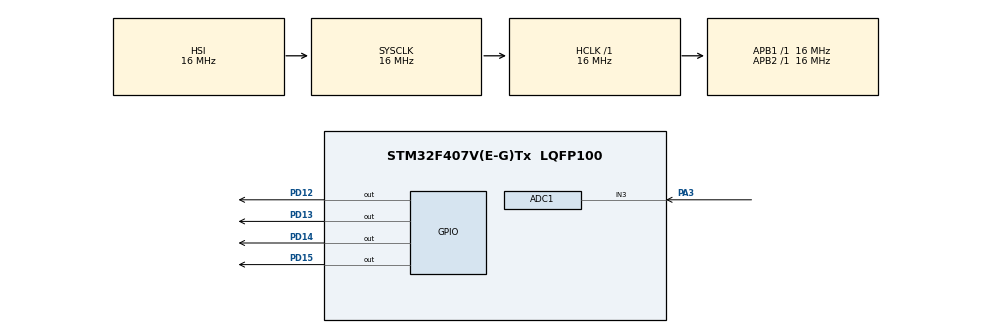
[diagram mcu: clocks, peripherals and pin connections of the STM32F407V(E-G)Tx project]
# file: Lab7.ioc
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ADC1.Channel-1\#ChannelRegularConversion=ADC_CHANNEL_3
ADC1.ClockPrescaler=ADC_CLOCK_SYNC_PCLK_DIV8
ADC1.NbrOfConversionFlag=1
ADC1.Rank-1\#ChannelRegularConversion=1
ADC1.SamplingTime-1\#ChannelRegularConversion=ADC_SAMPLETIME_480CYCLES
ADC1.master=1
Mcu.Family=STM32F4
Mcu.Name=STM32F407V(E-G)Tx
Mcu.Package=LQFP100
NVIC.ADC_IRQn=true\:0\:0\:false\:false\:true\:true\:true\:true
NVIC.PriorityGroup=NVIC_PRIORITYGROUP_4
PA3.Signal=ADCx_IN3
PD12.Signal=GPIO_Output
PD13.Signal=GPIO_Output
PD14.Signal=GPIO_Output
PD15.Signal=GPIO_Output
ProjectManager.HeapSize=0x200
ProjectManager.StackSize=0x400
ProjectManager.TargetToolchain=STM32CubeIDE
RCC.AHBFreq_Value=16000000
RCC.APB1Freq_Value=16000000
RCC.APB2Freq_Value=16000000
RCC.CortexFreq_Value=16000000
RCC.HSE_VALUE=25000000
RCC.HSI_VALUE=16000000
RCC.LSE_VALUE=32768
RCC.SYSCLKFreq_VALUE=16000000
RCC.VCOOutputFreq_Value=192000000
SH.ADCx_IN3.0=ADC1_IN3,IN3
board=custom

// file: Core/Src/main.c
/* USER CODE BEGIN Header */
/**
  ******************************************************************************
  * @file           : main.c
  * @brief          : Main program body
  ******************************************************************************
  * @attention
  *
  * Copyright (c) 2023 STMicroelectronics.
  * All rights reserved.
  *
  * This software is licensed under terms that can be found in the LICENSE file
  * in the root directory of this software component.
  * If no LICENSE file comes with this software, it is provided AS-IS.
  *
  ******************************************************************************
  */
/* USER CODE END Header */
#include "main.h"

/* USER CODE BEGIN Includes */
#include <math.h>
#include <stdlib.h>
/* USER CODE END Includes */

/* USER CODE BEGIN PD */
#define ADC_MAX 4096
/* USER CODE END PD */

ADC_HandleTypeDef hadc1;

/* USER CODE BEGIN PV */

uint16_t leds =  GPIO_PIN_12 | GPIO_PIN_13 | GPIO_PIN_14 | GPIO_PIN_15;
float stages[] = {0, 0.2, 0.4, 0.6, 0.8, 1};
uint8_t stages_len = sizeof(stages)/sizeof(stages[0]);
float temp_ratio = 0;
GPIO_TypeDef* reg = GPIOD;

/* USER CODE END PV */

void SystemClock_Config(void);
static void MX_GPIO_Init(void);
static void MX_ADC1_Init(void);

/* USER CODE BEGIN 0 */

static void light_up(uint16_t desired_leds )
{
	HAL_GPIO_WritePin(reg, leds, GPIO_PIN_RESET);
    HAL_GPIO_WritePin(reg, desired_leds, GPIO_PIN_SET);
}

static uint16_t calc_desired_leds(uint32_t adc_value, float hysteresis){
	float ratio = (float) adc_value / ADC_MAX;
	float diff = fabs(temp_ratio - ratio);

	if(diff < hysteresis) ratio = temp_ratio;
	else temp_ratio = ratio;

	uint16_t desired_leds = 0;
	for(int i = 1; i < stages_len; i++)
	{
		float stage = stages[i];
		float prev_stage = stages[i - 1];
		if (ratio > prev_stage && ratio <= stage)
            break;
        desired_leds |= pow(2, i - 1) << 12
	}
	return desired_leds;
}

void HAL_ADC_ConvCpltCallback(ADC_HandleTypeDef* hadc)
{
	uint32_t adc_value;
	if(hadc->Instance == ADC1)
	{
		adc_value = HAL_ADC_GetValue(&hadc1);
		uint16_t desired_leds = calc_desired_leds(adc_value , 0.05);
		light_up(desired_leds);
		HAL_ADC_Start_IT(&hadc1);
	}
}

/* USER CODE END 0 */

int main(void)
{

  /* MCU Configuration--------------------------------------------------------*/

  /* Reset of all peripherals, Initializes the Flash interface and the Systick. */
  HAL_Init();

  /* Configure the system clock */
  SystemClock_Config();

  /* Initialize all configured peripherals */
  MX_GPIO_Init();
  MX_ADC1_Init();
  /* USER CODE BEGIN 2 */

  HAL_ADC_Start_IT(&hadc1);

  /* USER CODE END 2 */

  /* Infinite loop */
  while (1)
  {
  }
}

void SystemClock_Config(void)
{
  RCC_OscInitTypeDef RCC_OscInitStruct = {0};
  RCC_ClkInitTypeDef RCC_ClkInitStruct = {0};

  /** Configure the main internal regulator output voltage
  */
  __HAL_RCC_PWR_CLK_ENABLE();
  __HAL_PWR_VOLTAGESCALING_CONFIG(PWR_REGULATOR_VOLTAGE_SCALE1);

  /** Initializes the RCC Oscillators according to the specified parameters
  * in the RCC_OscInitTypeDef structure.
  */
  RCC_OscInitStruct.OscillatorType = RCC_OSCILLATORTYPE_HSI;
  RCC_OscInitStruct.HSIState = RCC_HSI_ON;
  RCC_OscInitStruct.HSICalibrationValue = RCC_HSICALIBRATION_DEFAULT;
  RCC_OscInitStruct.PLL.PLLState = RCC_PLL_NONE;
  if (HAL_RCC_OscConfig(&RCC_OscInitStruct) != HAL_OK)
  {
    Error_Handler();
  }

  /** Initializes the CPU, AHB and APB buses clocks
  */
  RCC_ClkInitStruct.ClockType = RCC_CLOCKTYPE_HCLK|RCC_CLOCKTYPE_SYSCLK
                              |RCC_CLOCKTYPE_PCLK1|RCC_CLOCKTYPE_PCLK2;
  RCC_ClkInitStruct.SYSCLKSource = RCC_SYSCLKSOURCE_HSI;
  RCC_ClkInitStruct.AHBCLKDivider = RCC_SYSCLK_DIV1;
  RCC_ClkInitStruct.APB1CLKDivider = RCC_HCLK_DIV1;
  RCC_ClkInitStruct.APB2CLKDivider = RCC_HCLK_DIV1;

  if (HAL_RCC_ClockConfig(&RCC_ClkInitStruct, FLASH_LATENCY_0) != HAL_OK)
  {
    Error_Handler();
  }
}

static void MX_ADC1_Init(void)
{

  ADC_ChannelConfTypeDef sConfig = {0};

  /** Configure the global features of the ADC (Clock, Resolution, Data Alignment and number of conversion)
  */
  hadc1.Instance = ADC1;
  hadc1.Init.ClockPrescaler = ADC_CLOCK_SYNC_PCLK_DIV8;
  hadc1.Init.Resolution = ADC_RESOLUTION_12B;
  hadc1.Init.ScanConvMode = DISABLE;
  hadc1.Init.ContinuousConvMode = DISABLE;
  hadc1.Init.DiscontinuousConvMode = DISABLE;
  hadc1.Init.ExternalTrigConvEdge = ADC_EXTERNALTRIGCONVEDGE_NONE;
  hadc1.Init.ExternalTrigConv = ADC_SOFTWARE_START;
  hadc1.Init.DataAlign = ADC_DATAALIGN_RIGHT;
  hadc1.Init.NbrOfConversion = 1;
  hadc1.Init.DMAContinuousRequests = DISABLE;
  hadc1.Init.EOCSelection = ADC_EOC_SINGLE_CONV;
  if (HAL_ADC_Init(&hadc1) != HAL_OK)
  {
    Error_Handler();
  }

  /** Configure for the selected ADC regular channel its corresponding rank in the sequencer and its sample time.
  */
  sConfig.Channel = ADC_CHANNEL_3;
  sConfig.Rank = 1;
  sConfig.SamplingTime = ADC_SAMPLETIME_480CYCLES;
  if (HAL_ADC_ConfigChannel(&hadc1, &sConfig) != HAL_OK)
  {
    Error_Handler();
  }

}

static void MX_GPIO_Init(void)
{
  GPIO_InitTypeDef GPIO_InitStruct = {0};

  /* GPIO Ports Clock Enable */
  __HAL_RCC_GPIOA_CLK_ENABLE();
  __HAL_RCC_GPIOD_CLK_ENABLE();

  /*Configure GPIO pin Output Level */
  HAL_GPIO_WritePin(GPIOD, GPIO_PIN_12|GPIO_PIN_13|GPIO_PIN_14|GPIO_PIN_15, GPIO_PIN_RESET);

  /*Configure GPIO pins : PD12 PD13 PD14 PD15 */
  GPIO_InitStruct.Pin = GPIO_PIN_12|GPIO_PIN_13|GPIO_PIN_14|GPIO_PIN_15;
  GPIO_InitStruct.Mode = GPIO_MODE_OUTPUT_PP;
  GPIO_InitStruct.Pull = GPIO_NOPULL;
  GPIO_InitStruct.Speed = GPIO_SPEED_FREQ_LOW;
  HAL_GPIO_Init(GPIOD, &GPIO_InitStruct);

}

void Error_Handler(void)
{
  __disable_irq();
  while (1)
  {
  }
}
